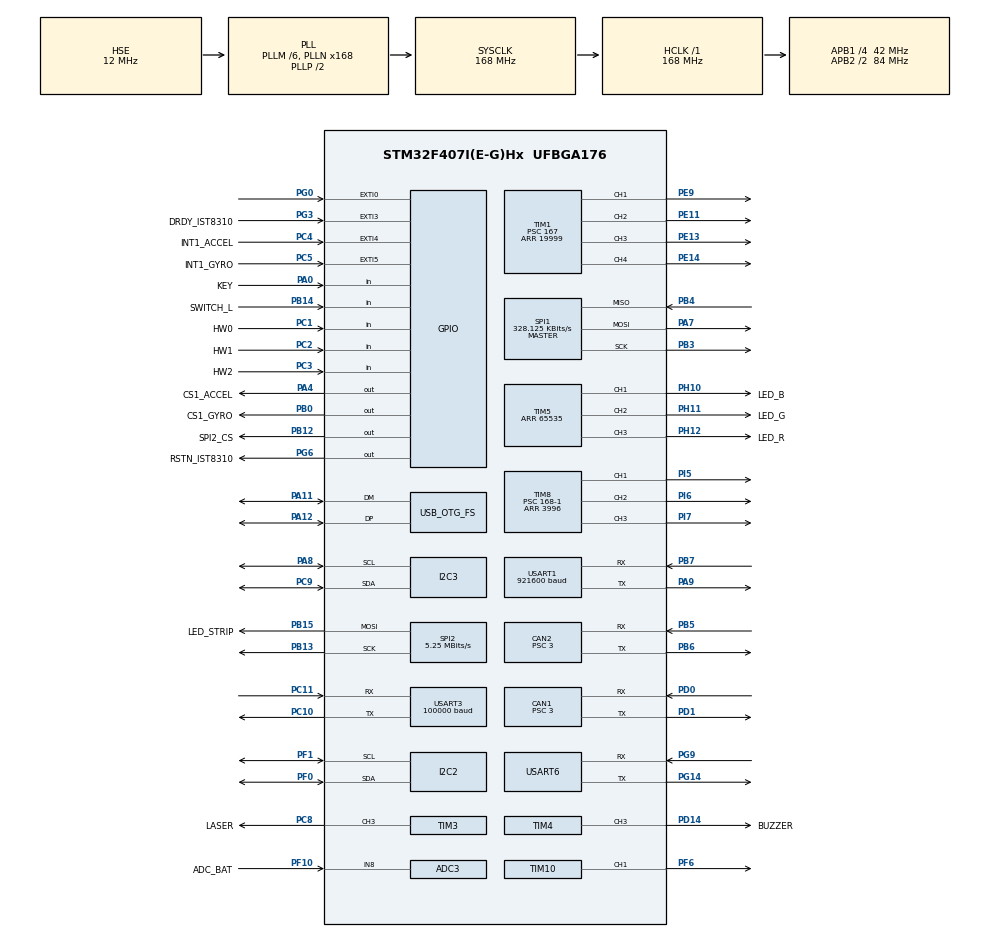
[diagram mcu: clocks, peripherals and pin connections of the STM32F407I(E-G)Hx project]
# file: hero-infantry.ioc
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ADC1.Channel-0\#ChannelRegularConversion=ADC_CHANNEL_TEMPSENSOR
ADC1.ClockPrescaler=ADC_CLOCK_SYNC_PCLK_DIV6
ADC1.NbrOfConversionFlag=1
ADC1.Rank-0\#ChannelRegularConversion=1
ADC1.SamplingTime-0\#ChannelRegularConversion=ADC_SAMPLETIME_3CYCLES
ADC1.master=1
ADC3.Channel-2\#ChannelRegularConversion=ADC_CHANNEL_8
ADC3.ClockPrescaler=ADC_CLOCK_SYNC_PCLK_DIV6
ADC3.NbrOfConversionFlag=1
ADC3.Rank-2\#ChannelRegularConversion=1
ADC3.SamplingTime-2\#ChannelRegularConversion=ADC_SAMPLETIME_3CYCLES
CAN1.ABOM=ENABLE
CAN1.BS1=CAN_BS1_10TQ
CAN1.BS2=CAN_BS2_3TQ
CAN1.CalculateBaudRate=1000000
CAN1.CalculateTimeBit=1000
CAN1.CalculateTimeQuantum=71.42857142857143
CAN1.NART=ENABLE
CAN1.Prescaler=3
CAN1.RFLM=DISABLE
CAN2.ABOM=ENABLE
CAN2.BS1=CAN_BS1_10TQ
CAN2.BS2=CAN_BS2_3TQ
CAN2.CalculateBaudRate=1000000
CAN2.CalculateTimeBit=1000
CAN2.CalculateTimeQuantum=71.42857142857143
CAN2.NART=ENABLE
CAN2.Prescaler=3
Dma.Request0=SPI1_RX
Dma.Request1=SPI1_TX
Dma.Request2=USART3_RX
Dma.Request3=USART6_RX
Dma.Request4=USART6_TX
Dma.Request5=SPI2_TX
Dma.Request6=USART1_RX
Dma.Request7=USART1_TX
Dma.SPI1_RX.0.Direction=DMA_PERIPH_TO_MEMORY
Dma.SPI1_RX.0.FIFOMode=DMA_FIFOMODE_DISABLE
Dma.SPI1_RX.0.Instance=DMA2_Stream2
Dma.SPI1_RX.0.MemDataAlignment=DMA_MDATAALIGN_BYTE
Dma.SPI1_RX.0.MemInc=DMA_MINC_ENABLE
Dma.SPI1_RX.0.Mode=DMA_NORMAL
Dma.SPI1_RX.0.PeriphDataAlignment=DMA_PDATAALIGN_BYTE
Dma.SPI1_RX.0.PeriphInc=DMA_PINC_DISABLE
Dma.SPI1_RX.0.Priority=DMA_PRIORITY_VERY_HIGH
Dma.SPI1_TX.1.Direction=DMA_MEMORY_TO_PERIPH
Dma.SPI1_TX.1.FIFOMode=DMA_FIFOMODE_DISABLE
Dma.SPI1_TX.1.Instance=DMA2_Stream3
Dma.SPI1_TX.1.MemDataAlignment=DMA_MDATAALIGN_BYTE
Dma.SPI1_TX.1.MemInc=DMA_MINC_ENABLE
Dma.SPI1_TX.1.Mode=DMA_NORMAL
Dma.SPI1_TX.1.PeriphDataAlignment=DMA_PDATAALIGN_BYTE
Dma.SPI1_TX.1.PeriphInc=DMA_PINC_DISABLE
Dma.SPI1_TX.1.Priority=DMA_PRIORITY_HIGH
Dma.SPI2_TX.5.Direction=DMA_MEMORY_TO_PERIPH
Dma.SPI2_TX.5.FIFOMode=DMA_FIFOMODE_DISABLE
Dma.SPI2_TX.5.Instance=DMA1_Stream4
Dma.SPI2_TX.5.MemDataAlignment=DMA_MDATAALIGN_BYTE
Dma.SPI2_TX.5.MemInc=DMA_MINC_ENABLE
Dma.SPI2_TX.5.Mode=DMA_NORMAL
Dma.SPI2_TX.5.PeriphDataAlignment=DMA_PDATAALIGN_BYTE
Dma.SPI2_TX.5.PeriphInc=DMA_PINC_DISABLE
Dma.SPI2_TX.5.Priority=DMA_PRIORITY_LOW
Dma.USART1_RX.6.Direction=DMA_PERIPH_TO_MEMORY
Dma.USART1_RX.6.FIFOMode=DMA_FIFOMODE_DISABLE
Dma.USART1_RX.6.Instance=DMA2_Stream5
Dma.USART1_RX.6.MemDataAlignment=DMA_MDATAALIGN_BYTE
Dma.USART1_RX.6.MemInc=DMA_MINC_ENABLE
Dma.USART1_RX.6.Mode=DMA_NORMAL
Dma.USART1_RX.6.PeriphDataAlignment=DMA_PDATAALIGN_BYTE
Dma.USART1_RX.6.PeriphInc=DMA_PINC_DISABLE
Dma.USART1_RX.6.Priority=DMA_PRIORITY_HIGH
Dma.USART1_TX.7.Direction=DMA_MEMORY_TO_PERIPH
Dma.USART1_TX.7.FIFOMode=DMA_FIFOMODE_DISABLE
Dma.USART1_TX.7.Instance=DMA2_Stream7
Dma.USART1_TX.7.MemDataAlignment=DMA_MDATAALIGN_BYTE
Dma.USART1_TX.7.MemInc=DMA_MINC_ENABLE
Dma.USART1_TX.7.Mode=DMA_NORMAL
Dma.USART1_TX.7.PeriphDataAlignment=DMA_PDATAALIGN_BYTE
Dma.USART1_TX.7.PeriphInc=DMA_PINC_DISABLE
Dma.USART1_TX.7.Priority=DMA_PRIORITY_MEDIUM
Dma.USART3_RX.2.Direction=DMA_PERIPH_TO_MEMORY
Dma.USART3_RX.2.FIFOMode=DMA_FIFOMODE_DISABLE
Dma.USART3_RX.2.Instance=DMA1_Stream1
Dma.USART3_RX.2.MemDataAlignment=DMA_MDATAALIGN_BYTE
Dma.USART3_RX.2.MemInc=DMA_MINC_ENABLE
Dma.USART3_RX.2.Mode=DMA_NORMAL
Dma.USART3_RX.2.PeriphDataAlignment=DMA_PDATAALIGN_BYTE
Dma.USART3_RX.2.PeriphInc=DMA_PINC_DISABLE
Dma.USART3_RX.2.Priority=DMA_PRIORITY_HIGH
Dma.USART6_RX.3.Direction=DMA_PERIPH_TO_MEMORY
Dma.USART6_RX.3.FIFOMode=DMA_FIFOMODE_ENABLE
Dma.USART6_RX.3.FIFOThreshold=DMA_FIFO_THRESHOLD_FULL
Dma.USART6_RX.3.Instance=DMA2_Stream1
Dma.USART6_RX.3.MemBurst=DMA_MBURST_SINGLE
Dma.USART6_RX.3.MemDataAlignment=DMA_MDATAALIGN_BYTE
Dma.USART6_RX.3.MemInc=DMA_MINC_ENABLE
Dma.USART6_RX.3.Mode=DMA_NORMAL
Dma.USART6_RX.3.PeriphBurst=DMA_PBURST_SINGLE
Dma.USART6_RX.3.PeriphDataAlignment=DMA_PDATAALIGN_BYTE
Dma.USART6_RX.3.PeriphInc=DMA_PINC_DISABLE
Dma.USART6_RX.3.Priority=DMA_PRIORITY_HIGH
Dma.USART6_TX.4.Direction=DMA_MEMORY_TO_PERIPH
Dma.USART6_TX.4.FIFOMode=DMA_FIFOMODE_DISABLE
Dma.USART6_TX.4.Instance=DMA2_Stream6
Dma.USART6_TX.4.MemDataAlignment=DMA_MDATAALIGN_BYTE
Dma.USART6_TX.4.MemInc=DMA_MINC_ENABLE
Dma.USART6_TX.4.Mode=DMA_NORMAL
Dma.USART6_TX.4.PeriphDataAlignment=DMA_PDATAALIGN_BYTE
Dma.USART6_TX.4.PeriphInc=DMA_PINC_DISABLE
Dma.USART6_TX.4.Priority=DMA_PRIORITY_MEDIUM
FREERTOS.INCLUDE_eTaskGetState=1
FREERTOS.INCLUDE_pcTaskGetTaskName=1
FREERTOS.INCLUDE_uxTaskGetStackHighWaterMark=0
FREERTOS.INCLUDE_vTaskCleanUpResources=1
FREERTOS.INCLUDE_vTaskDelayUntil=1
FREERTOS.INCLUDE_xEventGroupSetBitFromISR=0
FREERTOS.INCLUDE_xQueueGetMutexHolder=1
FREERTOS.INCLUDE_xSemaphoreGetMutexHolder=1
FREERTOS.INCLUDE_xTaskAbortDelay=1
FREERTOS.INCLUDE_xTaskGetCurrentTaskHandle=1
FREERTOS.INCLUDE_xTaskGetHandle=1
FREERTOS.Tasks01=defaultTask,-3,128,StartDefaultTask,As weak,NULL,Dynamic,NULL,NULL;calibrateTask,0,512,Calibrate_task,As weak,NULL,Dynamic,NULL,NULL;chassisTask,-2,512,Chassis_task,As weak,NULL,Dynamic,NULL,NULL;gimbalTask,2,512,Gimbal_task,As weak,NULL,Dynamic,NULL,NULL;imuTask,-3,512,INS_task,As weak,NULL,Dynamic,NULL,NULL;detectTask,-3,128,Detect_task,As weak,NULL,Dynamic,NULL,NULL;usbtask,2,128,USB_task,As weak,NULL,Dynamic,NULL,NULL;decodetask,2,128,Decode_task,As weak,NULL,Dynamic,NULL,NULL;uipaintTask,-3,128,UI_Paint_task,As weak,NULL,Dynamic,NULL,NULL;ledTask,-1,128,Led_Task,As weak,NULL,Dynamic,NULL,NULL;capTask,1,256,Cap_task,As weak,NULL,Dynamic,NULL,NULL
FREERTOS.configCHECK_FOR_STACK_OVERFLOW=0
FREERTOS.configTOTAL_HEAP_SIZE=24576
FREERTOS.configUSE_NEWLIB_REENTRANT=0
I2C3.I2C_Mode=I2C_Fast
Mcu.Family=STM32F4
Mcu.Name=STM32F407I(E-G)Hx
Mcu.Package=UFBGA176
NVIC.CAN1_RX0_IRQn=true\:5\:0\:false\:false\:false\:true\:true\:true\:true
NVIC.CAN1_RX1_IRQn=true\:5\:0\:false\:false\:false\:true\:true\:true\:true
NVIC.CAN2_RX0_IRQn=true\:5\:0\:false\:false\:false\:true\:true\:true\:true
NVIC.DMA1_Stream1_IRQn=true\:5\:0\:false\:false\:true\:true\:false\:true\:true
NVIC.DMA1_Stream4_IRQn=true\:5\:0\:false\:false\:true\:true\:false\:true\:true
NVIC.DMA2_Stream1_IRQn=true\:5\:0\:false\:false\:true\:true\:false\:true\:true
NVIC.DMA2_Stream2_IRQn=true\:5\:0\:false\:false\:false\:true\:false\:true\:true
NVIC.DMA2_Stream3_IRQn=true\:5\:0\:false\:false\:true\:true\:false\:true\:true
NVIC.DMA2_Stream5_IRQn=true\:5\:0\:false\:false\:true\:true\:false\:true\:true
NVIC.DMA2_Stream6_IRQn=true\:5\:0\:false\:false\:true\:true\:false\:true\:true
NVIC.DMA2_Stream7_IRQn=true\:5\:0\:false\:false\:true\:true\:false\:true\:true
NVIC.EXTI0_IRQn=true\:5\:0\:false\:false\:true\:true\:true\:true\:true
NVIC.EXTI3_IRQn=true\:5\:0\:false\:false\:true\:true\:true\:true\:true
NVIC.EXTI4_IRQn=true\:5\:0\:false\:false\:true\:true\:true\:true\:true
NVIC.EXTI9_5_IRQn=true\:5\:0\:false\:false\:true\:true\:true\:true\:true
NVIC.OTG_FS_IRQn=true\:5\:0\:false\:false\:true\:true\:false\:true\:true
NVIC.PriorityGroup=NVIC_PRIORITYGROUP_4
NVIC.USART1_IRQn=true\:5\:0\:false\:false\:false\:true\:true\:true\:true
NVIC.USART3_IRQn=true\:5\:0\:false\:false\:false\:true\:true\:true\:true
NVIC.USART6_IRQn=true\:5\:0\:false\:false\:false\:true\:true\:true\:true
PA0-WKUP.GPIO_Label=KEY
PA0-WKUP.GPIO_PuPd=GPIO_PULLUP
PA0-WKUP.Signal=GPIO_Input
PA11.Mode=Device_Only
PA11.Signal=USB_OTG_FS_DM
PA12.Mode=Device_Only
PA12.Signal=USB_OTG_FS_DP
PA13.Mode=Serial_Wire
PA13.Signal=SYS_JTMS-SWDIO
PA14.Mode=Serial_Wire
PA14.Signal=SYS_JTCK-SWCLK
PA4.GPIO_Label=CS1_ACCEL
PA4.GPIO_PuPd=GPIO_PULLUP
PA4.GPIO_Speed=GPIO_SPEED_FREQ_HIGH
PA4.PinState=GPIO_PIN_SET
PA4.Signal=GPIO_Output
PA7.GPIO_PuPd=GPIO_PULLUP
PA7.Mode=Full_Duplex_Master
PA7.Signal=SPI1_MOSI
PA8.Mode=I2C
PA8.Signal=I2C3_SCL
PA9.Mode=Asynchronous
PA9.Signal=USART1_TX
PB0.GPIO_Label=CS1_GYRO
PB0.GPIO_PuPd=GPIO_PULLUP
PB0.GPIO_Speed=GPIO_SPEED_FREQ_HIGH
PB0.PinState=GPIO_PIN_SET
PB0.Signal=GPIO_Output
PB12.GPIO_Label=SPI2_CS
PB12.GPIO_PuPd=GPIO_PULLUP
PB12.GPIO_Speed=GPIO_SPEED_FREQ_MEDIUM
PB12.PinState=GPIO_PIN_SET
PB12.Signal=GPIO_Output
PB13.Mode=TX_Only_Simplex_Unidirect_Master
PB13.Signal=SPI2_SCK
PB14.GPIO_Label=SWITCH_L
PB14.GPIO_PuPd=GPIO_PULLDOWN
PB14.Signal=GPIO_Input
PB15.GPIO_Label=LED_STRIP
PB15.Mode=TX_Only_Simplex_Unidirect_Master
PB15.Signal=SPI2_MOSI
PB3.GPIO_PuPd=GPIO_PULLUP
PB3.Mode=Full_Duplex_Master
PB3.Signal=SPI1_SCK
PB4.GPIO_PuPd=GPIO_PULLUP
PB4.Mode=Full_Duplex_Master
PB4.Signal=SPI1_MISO
PB5.GPIO_PuPd=GPIO_PULLUP
PB5.Mode=CAN_Activate
PB5.Signal=CAN2_RX
PB6.GPIO_PuPd=GPIO_PULLUP
PB6.Mode=CAN_Activate
PB6.Signal=CAN2_TX
PB7.Mode=Asynchronous
PB7.Signal=USART1_RX
PC1.GPIO_Label=HW0
PC1.Signal=GPIO_Input
PC10.Mode=Asynchronous
PC10.Signal=USART3_TX
PC11.Mode=Asynchronous
PC11.Signal=USART3_RX
PC2.GPIO_Label=HW1
PC2.Signal=GPIO_Input
PC3.GPIO_Label=HW2
PC3.Signal=GPIO_Input
PC4.GPIO_Label=INT1_ACCEL
PC4.GPIO_ModeDefaultEXTI=GPIO_MODE_IT_FALLING
PC4.GPIO_PuPd=GPIO_PULLUP
PC4.Signal=GPXTI4
PC5.GPIO_Label=INT1_GYRO
PC5.GPIO_ModeDefaultEXTI=GPIO_MODE_IT_FALLING
PC5.GPIO_PuPd=GPIO_PULLUP
PC5.Signal=GPXTI5
PC8.GPIO_Label=LASER
PC8.GPIO_PuPd=GPIO_PULLUP
PC8.GPIO_Speed=GPIO_SPEED_FREQ_HIGH
PC8.Signal=S_TIM3_CH3
PC9.Mode=I2C
PC9.Signal=I2C3_SDA
PD0.GPIO_PuPd=GPIO_PULLUP
PD0.Mode=CAN_Activate
PD0.Signal=CAN1_RX
PD1.GPIO_PuPd=GPIO_PULLUP
PD1.Mode=CAN_Activate
PD1.Signal=CAN1_TX
PD14.GPIO_Label=BUZZER
PD14.GPIO_PuPd=GPIO_PULLUP
PD14.GPIO_Speed=GPIO_SPEED_FREQ_VERY_HIGH
PD14.Signal=S_TIM4_CH3
PE11.Signal=S_TIM1_CH2
PE13.Signal=S_TIM1_CH3
PE14.Signal=S_TIM1_CH4
PE9.GPIO_PuPd=GPIO_PULLUP
PE9.GPIO_Speed=GPIO_SPEED_FREQ_HIGH
PE9.Signal=S_TIM1_CH1
PF0.Mode=I2C
PF0.Signal=I2C2_SDA
PF1.Mode=I2C
PF1.Signal=I2C2_SCL
PF10.GPIO_Label=ADC_BAT
PF10.Mode=IN8
PF10.Signal=ADC3_IN8
PF6.GPIO_PuPd=GPIO_PULLUP
PF6.GPIO_Speed=GPIO_SPEED_FREQ_HIGH
PF6.Signal=S_TIM10_CH1
PG0.GPIO_ModeDefaultEXTI=GPIO_MODE_IT_FALLING
PG0.GPIO_PuPd=GPIO_PULLUP
PG0.Signal=GPXTI0
PG14.Mode=Asynchronous
PG14.Signal=USART6_TX
PG3.GPIO_Label=DRDY_IST8310
PG3.GPIO_ModeDefaultEXTI=GPIO_MODE_IT_FALLING
PG3.GPIO_PuPd=GPIO_PULLUP
PG3.Signal=GPXTI3
PG6.GPIO_Label=RSTN_IST8310
PG6.GPIO_PuPd=GPIO_PULLUP
PG6.GPIO_Speed=GPIO_SPEED_FREQ_MEDIUM
PG6.Signal=GPIO_Output
PG9.Mode=Asynchronous
PG9.Signal=USART6_RX
PH0-OSC_IN.Mode=HSE-External-Oscillator
PH0-OSC_IN.Signal=RCC_OSC_IN
PH1-OSC_OUT.Mode=HSE-External-Oscillator
PH1-OSC_OUT.Signal=RCC_OSC_OUT
PH10.GPIO_Label=LED_B
PH10.GPIO_PuPd=GPIO_PULLUP
PH10.GPIO_Speed=GPIO_SPEED_FREQ_HIGH
PH10.Signal=S_TIM5_CH1
PH11.GPIO_Label=LED_G
PH11.GPIO_PuPd=GPIO_PULLUP
PH11.GPIO_Speed=GPIO_SPEED_FREQ_HIGH
PH11.Signal=S_TIM5_CH2
PH12.GPIO_Label=LED_R
PH12.GPIO_PuPd=GPIO_PULLUP
PH12.GPIO_Speed=GPIO_SPEED_FREQ_HIGH
PH12.Signal=S_TIM5_CH3
PI5.Signal=S_TIM8_CH1
PI6.GPIO_PuPd=GPIO_PULLUP
PI6.GPIO_Speed=GPIO_SPEED_FREQ_VERY_HIGH
PI6.Signal=S_TIM8_CH2
PI7.GPIO_PuPd=GPIO_PULLUP
PI7.GPIO_Speed=GPIO_SPEED_FREQ_VERY_HIGH
PI7.Signal=S_TIM8_CH3
ProjectManager.HeapSize=0x2000
ProjectManager.StackSize=0x2000
ProjectManager.TargetToolchain=STM32CubeIDE
RCC.48MHZClocksFreq_Value=48000000
RCC.AHBFreq_Value=168000000
RCC.APB1CLKDivider=RCC_HCLK_DIV4
RCC.APB1Freq_Value=42000000
RCC.APB1TimFreq_Value=84000000
RCC.APB2CLKDivider=RCC_HCLK_DIV2
RCC.APB2Freq_Value=84000000
RCC.APB2TimCLKDivider=2
RCC.APB2TimFreq_Value=168000000
RCC.CortexFreq_Value=168000000
RCC.HCLKFreq_Value=168000000
RCC.HSE_VALUE=12000000
RCC.HSI_VALUE=16000000
RCC.LSE_VALUE=32768
RCC.PLLM=6
RCC.PLLN=168
RCC.PLLQ=7
RCC.RCC_RTC_Clock_SourceVirtual=RCC_RTCCLKSOURCE_HSE_DIV30
RCC.RCC_RTC_Clock_Source_FROM_HSE=RCC_RTCCLKSOURCE_HSE_DIV30
RCC.SYSCLKFreq_VALUE=168000000
RCC.SYSCLKSource=RCC_SYSCLKSOURCE_PLLCLK
RCC.VCOOutputFreq_Value=336000000
SH.S_TIM10_CH1.0=TIM10_CH1,PWM Generation1 CH1
SH.S_TIM1_CH1.0=TIM1_CH1,PWM Generation1 CH1
SH.S_TIM1_CH2.0=TIM1_CH2,PWM Generation2 CH2
SH.S_TIM1_CH3.0=TIM1_CH3,PWM Generation3 CH3
SH.S_TIM1_CH4.0=TIM1_CH4,PWM Generation4 CH4
SH.S_TIM3_CH3.0=TIM3_CH3,PWM Generation3 CH3
SH.S_TIM4_CH3.0=TIM4_CH3,PWM Generation3 CH3
SH.S_TIM5_CH1.0=TIM5_CH1,PWM Generation1 CH1
SH.S_TIM5_CH2.0=TIM5_CH2,PWM Generation2 CH2
SH.S_TIM5_CH3.0=TIM5_CH3,PWM Generation3 CH3
SH.S_TIM8_CH1.0=TIM8_CH1,PWM Generation1 CH1
SH.S_TIM8_CH2.0=TIM8_CH2,PWM Generation2 CH2
SH.S_TIM8_CH3.0=TIM8_CH3,PWM Generation3 CH3
SPI1.BaudRatePrescaler=SPI_BAUDRATEPRESCALER_256
SPI1.CLKPhase=SPI_PHASE_2EDGE
SPI1.CLKPolarity=SPI_POLARITY_HIGH
SPI1.CalculateBaudRate=328.125 KBits/s
SPI1.Direction=SPI_DIRECTION_2LINES
SPI1.Mode=SPI_MODE_MASTER
SPI1.VirtualType=VM_MASTER
SPI2.BaudRatePrescaler=SPI_BAUDRATEPRESCALER_8
SPI2.CLKPhase=SPI_PHASE_2EDGE
SPI2.CalculateBaudRate=5.25 MBits/s
SPI2.Direction=SPI_DIRECTION_2LINES
SPI2.Mode=SPI_MODE_MASTER
SPI2.VirtualType=VM_MASTER
TIM1.AutoReloadPreload=TIM_AUTORELOAD_PRELOAD_DISABLE
TIM1.Channel-PWM\ Generation1\ CH1=TIM_CHANNEL_1
TIM1.Channel-PWM\ Generation2\ CH2=TIM_CHANNEL_2
TIM1.Channel-PWM\ Generation3\ CH3=TIM_CHANNEL_3
TIM1.Channel-PWM\ Generation4\ CH4=TIM_CHANNEL_4
TIM1.Period=19999
TIM1.Prescaler=167
TIM1.Pulse-PWM\ Generation1\ CH1=1000
TIM1.Pulse-PWM\ Generation2\ CH2=1000
TIM10.Channel=TIM_CHANNEL_1
TIM10.Period=4999
TIM3.Channel-PWM\ Generation3\ CH3=TIM_CHANNEL_3
TIM3.Period=8399
TIM4.Channel-PWM\ Generation3\ CH3=TIM_CHANNEL_3
TIM4.Prescaler=167
TIM5.Channel-PWM\ Generation1\ CH1=TIM_CHANNEL_1
TIM5.Channel-PWM\ Generation2\ CH2=TIM_CHANNEL_2
TIM5.Channel-PWM\ Generation3\ CH3=TIM_CHANNEL_3
TIM5.Period=65535
TIM8.AutoReloadPreload=TIM_AUTORELOAD_PRELOAD_ENABLE
TIM8.Channel-PWM\ Generation1\ CH1=TIM_CHANNEL_1
TIM8.Channel-PWM\ Generation2\ CH2=TIM_CHANNEL_2
TIM8.Channel-PWM\ Generation3\ CH3=TIM_CHANNEL_3
TIM8.Period=3996
TIM8.Prescaler=168-1
TIM8.Pulse-PWM\ Generation2\ CH2=1500
TIM8.Pulse-PWM\ Generation3\ CH3=1500
USART1.BaudRate=921600
USART1.VirtualMode=VM_ASYNC
USART3.BaudRate=100000
USART3.Mode=MODE_RX
USART3.Parity=PARITY_EVEN
USART3.VirtualMode=VM_ASYNC
USART6.VirtualMode=VM_ASYNC
USB_DEVICE.CLASS_NAME_FS=CDC
USB_DEVICE.VirtualMode-CDC_FS=Cdc
USB_DEVICE.VirtualModeFS=Cdc_FS
USB_OTG_FS.VirtualMode=Device_Only
VP_ADC1_TempSens_Input.Mode=IN-TempSens
VP_ADC1_Vref_Input.Mode=IN-Vrefint
VP_CRC_VS_CRC.Mode=CRC_Activate
VP_FREERTOS_VS_CMSIS_V1.Mode=CMSIS_V1
VP_RNG_VS_RNG.Mode=RNG_Activate
VP_TIM10_VS_ClockSourceINT.Mode=Enable_Timer
VP_TIM4_VS_ClockSourceINT.Mode=Internal
VP_TIM5_VS_ClockSourceINT.Mode=Internal
VP_TIM8_VS_ClockSourceINT.Mode=Internal
VP_USB_DEVICE_VS_USB_DEVICE_CDC_FS.Mode=CDC_FS
board=custom

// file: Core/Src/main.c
/* USER CODE BEGIN Header */
/**
  ******************************************************************************
  * @file           : main.c
  * @brief          : Main program body
  ******************************************************************************
  * @attention
  *
  * Copyright (c) 2022 STMicroelectronics.
  * All rights reserved.
  *
  * This software is licensed under terms that can be found in the LICENSE file
  * in the root directory of this software component.
  * If no LICENSE file comes with this software, it is provided AS-IS.
  *
  ******************************************************************************
  */
/* USER CODE END Header */
#include "main.h"
#include "cmsis_os.h"
#include "adc.h"
#include "can.h"
#include "crc.h"
#include "dma.h"
#include "i2c.h"
#include "rng.h"
#include "spi.h"
#include "tim.h"
#include "usart.h"
#include "usb_device.h"
#include "gpio.h"

/* USER CODE BEGIN Includes */
#include "bsp_can.h"
#include "bsp_delay.h"
#include "bsp_usart.h"
#include "remote.h"
#include "Referee.h"
#include "can_receive.h"
#include "VTM.h"

#include "Calibrate.h"
#include "Power_Limit_communication.h"
/* USER CODE END Includes */

/* USER CODE BEGIN PTD */
extern uint8_t usart1_receive_buf[200];
/* USER CODE END PTD */

void SystemClock_Config(void);
void MX_FREERTOS_Init(void);

int main(void)
{

  /* MCU Configuration--------------------------------------------------------*/

  /* Reset of all peripherals, Initializes the Flash interface and the Systick. */
  HAL_Init();

  /* Configure the system clock */
  SystemClock_Config();

  /* Initialize all configured peripherals */
  MX_GPIO_Init();
  MX_DMA_Init();
  MX_CAN1_Init();
  MX_CAN2_Init();
  MX_SPI1_Init();
  MX_TIM4_Init();
  MX_TIM5_Init();
  MX_USART3_UART_Init();
  MX_USART6_UART_Init();
  MX_TIM3_Init();
  MX_TIM10_Init();
  MX_ADC1_Init();
  MX_CRC_Init();
  MX_RNG_Init();
  MX_TIM1_Init();
  MX_TIM8_Init();
  MX_ADC3_Init();
  MX_I2C2_Init();
  MX_I2C3_Init();
  MX_SPI2_Init();
  MX_USART1_UART_Init();
  /* USER CODE BEGIN 2 */
    delay_init();
    HAL_TIM_PWM_Start(&htim8,TIM_CHANNEL_1);
    HAL_TIM_PWM_Start(&htim8,TIM_CHANNEL_2);
    HAL_TIM_PWM_Start(&htim8,TIM_CHANNEL_3);
    HAL_TIM_Base_Start(&htim1);
    HAL_TIM_PWM_Start(&htim1,TIM_CHANNEL_1);
    HAL_TIM_PWM_Start(&htim1,TIM_CHANNEL_2);
    HAL_TIM_PWM_Start(&htim1,TIM_CHANNEL_3);
    HAL_TIM_PWM_Start(&htim1,TIM_CHANNEL_4);
    usart6_init(&usart6_buf[0], REFEREE_BUFFER_SIZE);
    //保留
  #ifdef GIMBAL
    usart1_init(&usart1_buf[0], REFEREE_BUFFER_SIZE);
  #endif
    //功率计
  #ifdef CHASSIS
    usart1_init(&usart1_Power[0], RX_BUFFER_SIZE);
  #endif
    CAN_init();
    cali_param_init();
    remote_control_init();
    vtm_data_init(&vtm_rx_data);
  /* USER CODE END 2 */

  /* Call init function for freertos objects (in cmsis_os2.c) */
  MX_FREERTOS_Init();

  /* Start scheduler */
  osKernelStart();

  /* We should never get here as control is now taken by the scheduler */

  /* Infinite loop */
  while (1)
  {

  }
}

void SystemClock_Config(void)
{
  RCC_OscInitTypeDef RCC_OscInitStruct = {0};
  RCC_ClkInitTypeDef RCC_ClkInitStruct = {0};

  /** Configure the main internal regulator output voltage
  */
  __HAL_RCC_PWR_CLK_ENABLE();
  __HAL_PWR_VOLTAGESCALING_CONFIG(PWR_REGULATOR_VOLTAGE_SCALE1);

  /** Initializes the RCC Oscillators according to the specified parameters
  * in the RCC_OscInitTypeDef structure.
  */
  RCC_OscInitStruct.OscillatorType = RCC_OSCILLATORTYPE_HSE;
  RCC_OscInitStruct.HSEState = RCC_HSE_ON;
  RCC_OscInitStruct.PLL.PLLState = RCC_PLL_ON;
  RCC_OscInitStruct.PLL.PLLSource = RCC_PLLSOURCE_HSE;
  RCC_OscInitStruct.PLL.PLLM = 6;
  RCC_OscInitStruct.PLL.PLLN = 168;
  RCC_OscInitStruct.PLL.PLLP = RCC_PLLP_DIV2;
  RCC_OscInitStruct.PLL.PLLQ = 7;
  if (HAL_RCC_OscConfig(&RCC_OscInitStruct) != HAL_OK)
  {
    Error_Handler();
  }

  /** Initializes the CPU, AHB and APB buses clocks
  */
  RCC_ClkInitStruct.ClockType = RCC_CLOCKTYPE_HCLK|RCC_CLOCKTYPE_SYSCLK
                              |RCC_CLOCKTYPE_PCLK1|RCC_CLOCKTYPE_PCLK2;
  RCC_ClkInitStruct.SYSCLKSource = RCC_SYSCLKSOURCE_PLLCLK;
  RCC_ClkInitStruct.AHBCLKDivider = RCC_SYSCLK_DIV1;
  RCC_ClkInitStruct.APB1CLKDivider = RCC_HCLK_DIV4;
  RCC_ClkInitStruct.APB2CLKDivider = RCC_HCLK_DIV2;

  if (HAL_RCC_ClockConfig(&RCC_ClkInitStruct, FLASH_LATENCY_5) != HAL_OK)
  {
    Error_Handler();
  }
}

void Error_Handler(void)
{
  /* USER CODE BEGIN Error_Handler_Debug */
  /* User can add his own implementation to report the HAL error return state */
//  __disable_irq();
//  while (1)
//  {
//  }
  /* USER CODE END Error_Handler_Debug */
}

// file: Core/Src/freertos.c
/* USER CODE BEGIN Header */
/**
  ******************************************************************************
  * File Name          : freertos.c
  * Description        : Code for freertos applications
  ******************************************************************************
  * @attention
  *
  * Copyright (c) 2022 STMicroelectronics.
  * All rights reserved.
  *
  * This software is licensed under terms that can be found in the LICENSE file
  * in the root directory of this software component.
  * If no LICENSE file comes with this software, it is provided AS-IS.
  *
  ******************************************************************************
  */
/* USER CODE END Header */

#include "FreeRTOS.h"
#include "task.h"
#include "main.h"
#include "cmsis_os.h"

osThreadId defaultTaskHandle;
osThreadId calibrateTaskHandle;
osThreadId chassisTaskHandle;
osThreadId gimbalTaskHandle;
osThreadId imuTaskHandle;
osThreadId detectTaskHandle;
osThreadId usbtaskHandle;
osThreadId decodetaskHandle;
osThreadId uipaintTaskHandle;
osThreadId ledTaskHandle;
osThreadId capTaskHandle;

void StartDefaultTask(void const * argument);
void Calibrate_task(void const * argument);
void Chassis_task(void const * argument);
void Gimbal_task(void const * argument);
void INS_task(void const * argument);
void Detect_task(void const * argument);
void USB_task(void const * argument);
void Decode_task(void const * argument);
void UI_Paint_task(void const * argument);
void Led_Task(void const * argument);
void Cap_task(void const * argument);

extern void MX_USB_DEVICE_Init(void);
void MX_FREERTOS_Init(void); /* (MISRA C 2004 rule 8.1) */

/* GetIdleTaskMemory prototype (linked to static allocation support) */
void vApplicationGetIdleTaskMemory( StaticTask_t **ppxIdleTaskTCBBuffer, StackType_t **ppxIdleTaskStackBuffer, uint32_t *pulIdleTaskStackSize );

/* USER CODE BEGIN GET_IDLE_TASK_MEMORY */
static StaticTask_t xIdleTaskTCBBuffer;
static StackType_t xIdleStack[configMINIMAL_STACK_SIZE];

void vApplicationGetIdleTaskMemory( StaticTask_t **ppxIdleTaskTCBBuffer, StackType_t **ppxIdleTaskStackBuffer, uint32_t *pulIdleTaskStackSize )
{
  *ppxIdleTaskTCBBuffer = &xIdleTaskTCBBuffer;
  *ppxIdleTaskStackBuffer = &xIdleStack[0];
  *pulIdleTaskStackSize = configMINIMAL_STACK_SIZE;
  /* place for user code */
}
QueueHandle_t CDC_send_queue;

/* USER CODE END GET_IDLE_TASK_MEMORY */

void MX_FREERTOS_Init(void) {

  /* Create the thread(s) */
  /* definition and creation of defaultTask */
  osThreadDef(defaultTask, StartDefaultTask, osPriorityIdle, 0, 128);
  defaultTaskHandle = osThreadCreate(osThread(defaultTask), NULL);

  /* definition and creation of calibrateTask */
  osThreadDef(calibrateTask, Calibrate_task, osPriorityNormal, 0, 512);
  calibrateTaskHandle = osThreadCreate(osThread(calibrateTask), NULL);

  /* definition and creation of chassisTask */
  osThreadDef(chassisTask, Chassis_task, osPriorityLow, 0, 512);
  chassisTaskHandle = osThreadCreate(osThread(chassisTask), NULL);

  /* definition and creation of gimbalTask */
  osThreadDef(gimbalTask, Gimbal_task, osPriorityHigh, 0, 512);
  gimbalTaskHandle = osThreadCreate(osThread(gimbalTask), NULL);

  /* definition and creation of imuTask */
  osThreadDef(imuTask, INS_task, osPriorityIdle, 0, 512);
  imuTaskHandle = osThreadCreate(osThread(imuTask), NULL);

  /* definition and creation of detectTask */
  osThreadDef(detectTask, Detect_task, osPriorityIdle, 0, 128);
  detectTaskHandle = osThreadCreate(osThread(detectTask), NULL);

  /* definition and creation of usbtask */
  osThreadDef(usbtask, USB_task, osPriorityHigh, 0, 128);
  usbtaskHandle = osThreadCreate(osThread(usbtask), NULL);

  /* definition and creation of decodetask */
  osThreadDef(decodetask, Decode_task, osPriorityHigh, 0, 128);
  decodetaskHandle = osThreadCreate(osThread(decodetask), NULL);

  /* definition and creation of uipaintTask */
  osThreadDef(uipaintTask, UI_Paint_task, osPriorityIdle, 0, 128);
  uipaintTaskHandle = osThreadCreate(osThread(uipaintTask), NULL);

  /* definition and creation of ledTask */
  osThreadDef(ledTask, Led_Task, osPriorityBelowNormal, 0, 128);
  ledTaskHandle = osThreadCreate(osThread(ledTask), NULL);

  /* definition and creation of capTask */
  osThreadDef(capTask, Cap_task, osPriorityAboveNormal, 0, 256);
  capTaskHandle = osThreadCreate(osThread(capTask), NULL);

  /* USER CODE BEGIN RTOS_THREADS */
  /* add threads, ... */
    CDC_send_queue = xQueueCreate(1, 128);
  /* USER CODE END RTOS_THREADS */

}

__weak void StartDefaultTask(void const * argument)
{
  /* init code for USB_DEVICE */
  MX_USB_DEVICE_Init();
  for(;;)
  {
    osDelay(1);
  }
}

__weak void Calibrate_task(void const * argument)
{
  for(;;)
  {
    osDelay(1);
  }
}

__weak void Chassis_task(void const * argument)
{
  for(;;)
  {
    osDelay(1);
  }
}

__weak void Gimbal_task(void const * argument)
{
  for(;;)
  {
    osDelay(1);
  }
}

__weak void INS_task(void const * argument)
{
  for(;;)
  {
    osDelay(1);
  }
}

__weak void Detect_task(void const * argument)
{
  for(;;)
  {
    osDelay(1);
  }
}

__weak void USB_task(void const * argument)
{
  for(;;)
  {
    osDelay(1);
  }
}

__weak void Decode_task(void const * argument)
{
  for(;;)
  {
    osDelay(1);
  }
}

__weak void UI_Paint_task(void const * argument)
{
  for(;;)
  {
    osDelay(1);
  }
}

__weak void Led_Task(void const * argument)
{
  for(;;)
  {
    osDelay(1);
  }
}

__weak void Cap_task(void const * argument)
{
  for(;;)
  {
    osDelay(1);
  }
}
